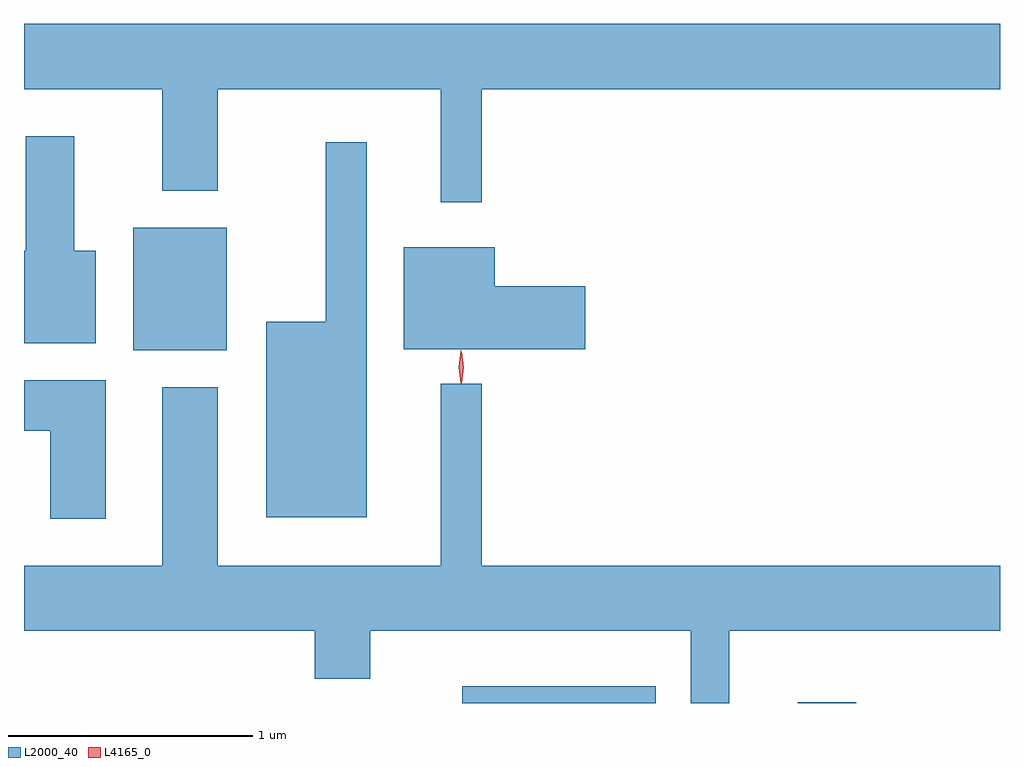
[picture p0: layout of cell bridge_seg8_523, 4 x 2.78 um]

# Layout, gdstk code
import gdstk
lib = gdstk.Library(unit=1e-6, precision=1e-09)
def R(c, l, rs):  # rectangles x0, y0, x1, y1
    for r in rs: c.add(gdstk.rectangle(r[:2], r[2:], *l))
def P(c, l, *ps):  # polygons
    for p in ps: c.add(gdstk.Polygon(p, *l))
L2000_40 = (2000, 40)
L4165_0 = (4165, 0)

bridge_seg8_523 = lib.new_cell('bridge_seg8_523')
R(bridge_seg8_523, L2000_40, [(271.601,1842.78,272.393,1842.849), (272.976,1842.78,273.214,1842.784), (270.251,1844.226,270.634,1844.729)])
P(bridge_seg8_523, L2000_40, [(271.679,1845.296),(273.804,1845.296),(273.804,1845.564),(269.804,1845.564),(269.804,1845.296),(270.371,1845.296),(270.371,1844.881),(270.599,1844.881),(270.599,1845.296),(271.511,1845.296),(271.511,1844.833),(271.679,1844.833)],
  [(270.099,1844.634),(270.009,1844.634),(270.009,1845.104),(269.811,1845.104),(269.811,1844.634),(269.804,1844.634),(269.804,1844.256),(270.099,1844.256)],
  [(271.209,1845.078),(271.041,1845.078),(271.041,1844.344),(270.796,1844.344),(270.796,1843.541),(271.209,1843.541)],
  [(272.104,1844.489),(271.734,1844.489),(271.734,1844.649),(271.361,1844.649),(271.361,1844.231),(272.104,1844.231)],
  [(270.139,1844.104),(269.804,1844.104),(269.804,1843.896),(269.911,1843.896),(269.911,1843.536),(270.139,1843.536)],
  [(272.694,1843.076),(273.804,1843.076),(273.804,1843.344),(271.679,1843.344),(271.679,1844.088),(271.511,1844.088),(271.511,1843.344),(270.599,1843.344),(270.599,1844.074),(270.371,1844.074),(270.371,1843.344),(269.804,1843.344),(269.804,1843.076),(270.996,1843.076),(270.996,1842.881),(271.224,1842.881),(271.224,1843.076),(272.536,1843.076),(272.536,1842.78),(272.694,1842.78)])
P(bridge_seg8_523, L4165_0, [(271.594,1844.09),(271.585,1844.158),(271.594,1844.225),(271.594,1844.226),(271.595,1844.225),(271.604,1844.158),(271.596,1844.09),(271.595,1844.09)],
  [(271.596,1844.093),(271.587,1844.156),(271.596,1844.219),(271.597,1844.22),(271.598,1844.219),(271.607,1844.156),(271.598,1844.093),(271.597,1844.093)])

lib.write_gds('bridge_seg8_523.gds')
